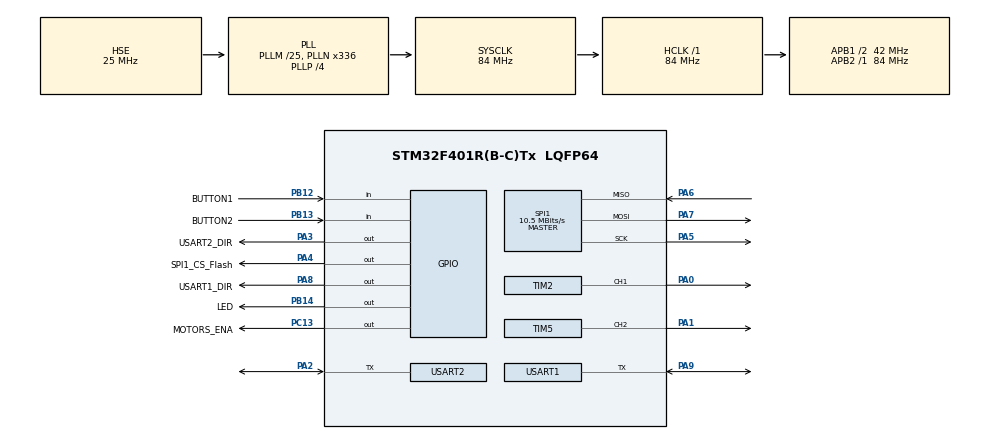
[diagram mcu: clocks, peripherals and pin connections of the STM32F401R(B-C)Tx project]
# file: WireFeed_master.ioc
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Dma.Request0=USART2_RX
Dma.Request1=USART2_TX
Dma.Request2=SPI1_RX
Dma.Request3=SPI1_TX
Dma.Request4=USART1_RX
Dma.Request5=USART1_TX
Dma.SPI1_RX.2.Direction=DMA_PERIPH_TO_MEMORY
Dma.SPI1_RX.2.FIFOMode=DMA_FIFOMODE_DISABLE
Dma.SPI1_RX.2.Instance=DMA2_Stream0
Dma.SPI1_RX.2.MemDataAlignment=DMA_MDATAALIGN_BYTE
Dma.SPI1_RX.2.MemInc=DMA_MINC_ENABLE
Dma.SPI1_RX.2.Mode=DMA_NORMAL
Dma.SPI1_RX.2.PeriphDataAlignment=DMA_PDATAALIGN_BYTE
Dma.SPI1_RX.2.PeriphInc=DMA_PINC_DISABLE
Dma.SPI1_RX.2.Priority=DMA_PRIORITY_MEDIUM
Dma.SPI1_TX.3.Direction=DMA_MEMORY_TO_PERIPH
Dma.SPI1_TX.3.FIFOMode=DMA_FIFOMODE_DISABLE
Dma.SPI1_TX.3.Instance=DMA2_Stream3
Dma.SPI1_TX.3.MemDataAlignment=DMA_MDATAALIGN_BYTE
Dma.SPI1_TX.3.MemInc=DMA_MINC_ENABLE
Dma.SPI1_TX.3.Mode=DMA_NORMAL
Dma.SPI1_TX.3.PeriphDataAlignment=DMA_PDATAALIGN_BYTE
Dma.SPI1_TX.3.PeriphInc=DMA_PINC_DISABLE
Dma.SPI1_TX.3.Priority=DMA_PRIORITY_MEDIUM
Dma.USART1_RX.4.Direction=DMA_PERIPH_TO_MEMORY
Dma.USART1_RX.4.FIFOMode=DMA_FIFOMODE_DISABLE
Dma.USART1_RX.4.Instance=DMA2_Stream2
Dma.USART1_RX.4.MemDataAlignment=DMA_MDATAALIGN_BYTE
Dma.USART1_RX.4.MemInc=DMA_MINC_ENABLE
Dma.USART1_RX.4.Mode=DMA_NORMAL
Dma.USART1_RX.4.PeriphDataAlignment=DMA_PDATAALIGN_BYTE
Dma.USART1_RX.4.PeriphInc=DMA_PINC_DISABLE
Dma.USART1_RX.4.Priority=DMA_PRIORITY_LOW
Dma.USART1_TX.5.Direction=DMA_MEMORY_TO_PERIPH
Dma.USART1_TX.5.FIFOMode=DMA_FIFOMODE_DISABLE
Dma.USART1_TX.5.Instance=DMA2_Stream7
Dma.USART1_TX.5.MemDataAlignment=DMA_MDATAALIGN_BYTE
Dma.USART1_TX.5.MemInc=DMA_MINC_ENABLE
Dma.USART1_TX.5.Mode=DMA_NORMAL
Dma.USART1_TX.5.PeriphDataAlignment=DMA_PDATAALIGN_BYTE
Dma.USART1_TX.5.PeriphInc=DMA_PINC_DISABLE
Dma.USART1_TX.5.Priority=DMA_PRIORITY_LOW
Dma.USART2_RX.0.Direction=DMA_PERIPH_TO_MEMORY
Dma.USART2_RX.0.FIFOMode=DMA_FIFOMODE_DISABLE
Dma.USART2_RX.0.Instance=DMA1_Stream5
Dma.USART2_RX.0.MemDataAlignment=DMA_MDATAALIGN_BYTE
Dma.USART2_RX.0.MemInc=DMA_MINC_ENABLE
Dma.USART2_RX.0.Mode=DMA_NORMAL
Dma.USART2_RX.0.PeriphDataAlignment=DMA_PDATAALIGN_BYTE
Dma.USART2_RX.0.PeriphInc=DMA_PINC_DISABLE
Dma.USART2_RX.0.Priority=DMA_PRIORITY_LOW
Dma.USART2_TX.1.Direction=DMA_MEMORY_TO_PERIPH
Dma.USART2_TX.1.FIFOMode=DMA_FIFOMODE_DISABLE
Dma.USART2_TX.1.Instance=DMA1_Stream6
Dma.USART2_TX.1.MemDataAlignment=DMA_MDATAALIGN_BYTE
Dma.USART2_TX.1.MemInc=DMA_MINC_ENABLE
Dma.USART2_TX.1.Mode=DMA_NORMAL
Dma.USART2_TX.1.PeriphDataAlignment=DMA_PDATAALIGN_BYTE
Dma.USART2_TX.1.PeriphInc=DMA_PINC_DISABLE
Dma.USART2_TX.1.Priority=DMA_PRIORITY_LOW
FREERTOS.HEAP_NUMBER=1
FREERTOS.Tasks01=commTask,8,128,StartCommTask,As weak,NULL,Dynamic,NULL,NULL
FREERTOS.configENABLE_FPU=1
Mcu.Family=STM32F4
Mcu.Name=STM32F401R(B-C)Tx
Mcu.Package=LQFP64
NVIC.DMA1_Stream5_IRQn=true\:5\:0\:false\:false\:true\:true\:false\:true\:true
NVIC.DMA1_Stream6_IRQn=true\:5\:0\:false\:false\:true\:true\:false\:true\:true
NVIC.DMA2_Stream0_IRQn=true\:5\:0\:false\:false\:true\:true\:false\:true\:true
NVIC.DMA2_Stream2_IRQn=true\:5\:0\:false\:false\:true\:true\:false\:true\:true
NVIC.DMA2_Stream3_IRQn=true\:5\:0\:false\:false\:true\:true\:false\:true\:true
NVIC.DMA2_Stream7_IRQn=true\:5\:0\:false\:false\:true\:true\:false\:true\:true
NVIC.PriorityGroup=NVIC_PRIORITYGROUP_4
NVIC.SPI1_IRQn=true\:5\:0\:false\:false\:true\:true\:true\:true\:true
NVIC.TIM1_TRG_COM_TIM11_IRQn=true\:15\:0\:false\:false\:true\:false\:false\:true\:true
NVIC.TimeBase=TIM1_TRG_COM_TIM11_IRQn
NVIC.TimeBaseIP=TIM11
NVIC.USART1_IRQn=true\:5\:0\:false\:false\:true\:true\:true\:true\:true
NVIC.USART2_IRQn=true\:5\:0\:false\:false\:true\:true\:true\:true\:true
NimaLTD.I-CUBE-SPIF.2.3.2.SPIF_PLATFORM=SPIF_PLATFORM_HAL_DMA
NimaLTD.I-CUBE-SPIF.2.3.2.SPIF_RTOS=SPIF_RTOS_CMSIS_V2
PA0-WKUP.GPIO_ModeDefaultPP=GPIO_MODE_AF_OD
PA0-WKUP.GPIO_Speed=GPIO_SPEED_FREQ_VERY_HIGH
PA0-WKUP.Signal=S_TIM2_CH1_ETR
PA1.GPIO_ModeDefaultPP=GPIO_MODE_AF_OD
PA1.GPIO_Speed=GPIO_SPEED_FREQ_VERY_HIGH
PA1.Signal=S_TIM5_CH2
PA2.GPIO_PuPd=GPIO_PULLUP
PA2.Mode=Half_duplex(single_wire_mode)
PA2.Signal=USART2_TX
PA3.GPIO_Label=USART2_DIR
PA3.GPIO_Speed=GPIO_SPEED_FREQ_VERY_HIGH
PA3.Signal=GPIO_Output
PA4.GPIO_Label=SPI1_CS_Flash
PA4.GPIO_Speed=GPIO_SPEED_FREQ_LOW
PA4.Signal=GPIO_Output
PA5.Mode=Full_Duplex_Master
PA5.Signal=SPI1_SCK
PA6.Mode=Full_Duplex_Master
PA6.Signal=SPI1_MISO
PA7.Mode=Full_Duplex_Master
PA7.Signal=SPI1_MOSI
PA8.GPIO_Label=USART1_DIR
PA8.Signal=GPIO_Output
PA9.GPIO_PuPd=GPIO_PULLUP
PA9.Mode=Half_duplex(single_wire_mode)
PA9.Signal=USART1_TX
PB12.GPIO_Label=BUTTON1
PB12.GPIO_PuPd=GPIO_PULLUP
PB12.Signal=GPIO_Input
PB13.GPIO_Label=BUTTON2
PB13.GPIO_PuPd=GPIO_PULLUP
PB13.Signal=GPIO_Input
PB14.GPIO_Label=LED
PB14.Signal=GPIO_Output
PC13-ANTI_TAMP.GPIO_Label=MOTORS_ENA
PC13-ANTI_TAMP.GPIO_ModeDefaultOutputPP=GPIO_MODE_OUTPUT_OD
PC13-ANTI_TAMP.GPIO_PuPd=GPIO_NOPULL
PC13-ANTI_TAMP.PinState=GPIO_PIN_RESET
PC13-ANTI_TAMP.Signal=GPIO_Output
PC14-OSC32_IN.Mode=LSE-External-Oscillator
PC14-OSC32_IN.Signal=RCC_OSC32_IN
PC15-OSC32_OUT.Mode=LSE-External-Oscillator
PC15-OSC32_OUT.Signal=RCC_OSC32_OUT
PH0\ -\ OSC_IN.Mode=HSE-External-Oscillator
PH0\ -\ OSC_IN.Signal=RCC_OSC_IN
PH1\ -\ OSC_OUT.Mode=HSE-External-Oscillator
PH1\ -\ OSC_OUT.Signal=RCC_OSC_OUT
ProjectManager.HeapSize=0x200
ProjectManager.StackSize=0x400
ProjectManager.TargetToolchain=CMake
RCC.48MHZClocksFreq_Value=48000000
RCC.AHBFreq_Value=84000000
RCC.APB1CLKDivider=RCC_HCLK_DIV2
RCC.APB1Freq_Value=42000000
RCC.APB1TimFreq_Value=84000000
RCC.APB2Freq_Value=84000000
RCC.APB2TimFreq_Value=84000000
RCC.CortexFreq_Value=84000000
RCC.HCLKFreq_Value=84000000
RCC.HSE_VALUE=25000000
RCC.HSI_VALUE=16000000
RCC.PLLM=25
RCC.PLLN=336
RCC.PLLP=RCC_PLLP_DIV4
RCC.PLLQ=7
RCC.PLLSourceVirtual=RCC_PLLSOURCE_HSE
RCC.RCC_RTC_Clock_Source=RCC_RTCCLKSOURCE_LSE
RCC.RCC_RTC_Clock_SourceVirtual=RCC_RTCCLKSOURCE_LSE
RCC.RCC_RTC_Clock_Source_FROM_HSE=RCC_RTCCLKSOURCE_HSE_DIV25
RCC.SYSCLKFreq_VALUE=84000000
RCC.SYSCLKSource=RCC_SYSCLKSOURCE_PLLCLK
RCC.VCOOutputFreq_Value=336000000
SH.S_TIM2_CH1_ETR.0=TIM2_CH1,Output Compare1 CH1
SH.S_TIM5_CH2.0=TIM5_CH2,Output Compare2 CH2
SPI1.BaudRatePrescaler=SPI_BAUDRATEPRESCALER_8
SPI1.CalculateBaudRate=10.5 MBits/s
SPI1.DataSize=SPI_DATASIZE_8BIT
SPI1.Direction=SPI_DIRECTION_2LINES
SPI1.Mode=SPI_MODE_MASTER
SPI1.VirtualType=VM_MASTER
TIM2.AutoReloadPreload=TIM_AUTORELOAD_PRELOAD_ENABLE
TIM2.Channel-Output\ Compare1\ CH1=TIM_CHANNEL_1
TIM2.OCMode_1=TIM_OCMODE_TOGGLE
TIM2.Period=65535
TIM5.AutoReloadPreload=TIM_AUTORELOAD_PRELOAD_ENABLE
TIM5.Channel-Output\ Compare2\ CH2=TIM_CHANNEL_2
TIM5.OCMode_2=TIM_OCMODE_TOGGLE
TIM5.Period=65535
USART1.Parity=PARITY_NONE
USART1.VirtualMode=VM_ASYNC
USART1.WordLength=WORDLENGTH_8B
USART2.VirtualMode=VM_ASYNC
VP_FREERTOS_VS_CMSIS_V2.Mode=CMSIS_V2
VP_RTC_VS_RTC_Activate.Mode=RTC_Enabled
VP_SYS_VS_tim11.Mode=TIM11
VP_TIM2_VS_ClockSourceINT.Mode=Internal
VP_TIM5_VS_ClockSourceINT.Mode=Internal
board=custom

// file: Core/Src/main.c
/* USER CODE BEGIN Header */
/**
  ******************************************************************************
  * @file           : main.c
  * @brief          : Main program body
  ******************************************************************************
  * @attention
  *
  * Copyright (c) 2026 STMicroelectronics.
  * All rights reserved.
  *
  * This software is licensed under terms that can be found in the LICENSE file
  * in the root directory of this software component.
  * If no LICENSE file comes with this software, it is provided AS-IS.
  *
  ******************************************************************************
  */
/* USER CODE END Header */
#include "main.h"
#include "cmsis_os.h"

/* USER CODE BEGIN Includes */
#include "acceleration.h"
#include "communication.h"
/* USER CODE END Includes */

RTC_HandleTypeDef hrtc;

SPI_HandleTypeDef hspi1;
DMA_HandleTypeDef hdma_spi1_rx;
DMA_HandleTypeDef hdma_spi1_tx;

TIM_HandleTypeDef htim2;
TIM_HandleTypeDef htim5;

UART_HandleTypeDef huart1;
UART_HandleTypeDef huart2;
DMA_HandleTypeDef hdma_usart1_rx;
DMA_HandleTypeDef hdma_usart1_tx;
DMA_HandleTypeDef hdma_usart2_rx;
DMA_HandleTypeDef hdma_usart2_tx;

/* Definitions for commTask */
osThreadId_t commTaskHandle;
const osThreadAttr_t commTask_attributes = {
  .name = "commTask",
  .stack_size = 128 * 4,
  .priority = (osPriority_t) osPriorityLow,
};
/* USER CODE BEGIN PV */
AT25DMA_HandleTypeDef heeprom = {
  .hspi = &hspi1,
  .cs_port = SPI1_CS_Flash_GPIO_Port,
  .cs_pin = SPI1_CS_Flash_Pin,
};
/* USER CODE END PV */

void SystemClock_Config(void);
static void MX_GPIO_Init(void);
static void MX_DMA_Init(void);
static void MX_USART2_UART_Init(void);
static void MX_TIM2_Init(void);
static void MX_TIM5_Init(void);
static void MX_SPI1_Init(void);
static void MX_RTC_Init(void);
static void MX_USART1_UART_Init(void);
void StartCommTask(void *argument);

int main(void)
{

  /* MCU Configuration--------------------------------------------------------*/

  /* Reset of all peripherals, Initializes the Flash interface and the Systick. */
  HAL_Init();

  /* Configure the system clock */
  SystemClock_Config();

  /* Initialize all configured peripherals */
  MX_GPIO_Init();
  MX_DMA_Init();
  MX_USART2_UART_Init();
  MX_TIM2_Init();
  MX_TIM5_Init();
  MX_SPI1_Init();
  MX_RTC_Init();
  MX_USART1_UART_Init();
  /* USER CODE BEGIN 2 */
  AT25DMA_Init(&heeprom);
  /* USER CODE END 2 */

  /* Init scheduler */
  osKernelInitialize();

  /* Create the thread(s) */
  /* creation of commTask */
  commTaskHandle = osThreadNew(StartCommTask, NULL, &commTask_attributes);

  /* USER CODE BEGIN RTOS_THREADS */
  /* add threads, ... */
  commInit();
  /* USER CODE END RTOS_THREADS */

  /* Start scheduler */
  osKernelStart();

  /* We should never get here as control is now taken by the scheduler */

  /* Infinite loop */
  while (1)
  {

  }
}

void SystemClock_Config(void)
{
  RCC_OscInitTypeDef RCC_OscInitStruct = {0};
  RCC_ClkInitTypeDef RCC_ClkInitStruct = {0};

  /** Configure the main internal regulator output voltage
  */
  __HAL_RCC_PWR_CLK_ENABLE();
  __HAL_PWR_VOLTAGESCALING_CONFIG(PWR_REGULATOR_VOLTAGE_SCALE2);

  /** Initializes the RCC Oscillators according to the specified parameters
  * in the RCC_OscInitTypeDef structure.
  */
  RCC_OscInitStruct.OscillatorType = RCC_OSCILLATORTYPE_HSE|RCC_OSCILLATORTYPE_LSE;
  RCC_OscInitStruct.HSEState = RCC_HSE_ON;
  RCC_OscInitStruct.LSEState = RCC_LSE_ON;
  RCC_OscInitStruct.PLL.PLLState = RCC_PLL_ON;
  RCC_OscInitStruct.PLL.PLLSource = RCC_PLLSOURCE_HSE;
  RCC_OscInitStruct.PLL.PLLM = 25;
  RCC_OscInitStruct.PLL.PLLN = 336;
  RCC_OscInitStruct.PLL.PLLP = RCC_PLLP_DIV4;
  RCC_OscInitStruct.PLL.PLLQ = 7;
  if (HAL_RCC_OscConfig(&RCC_OscInitStruct) != HAL_OK)
  {
    Error_Handler();
  }

  /** Initializes the CPU, AHB and APB buses clocks
  */
  RCC_ClkInitStruct.ClockType = RCC_CLOCKTYPE_HCLK|RCC_CLOCKTYPE_SYSCLK
                              |RCC_CLOCKTYPE_PCLK1|RCC_CLOCKTYPE_PCLK2;
  RCC_ClkInitStruct.SYSCLKSource = RCC_SYSCLKSOURCE_PLLCLK;
  RCC_ClkInitStruct.AHBCLKDivider = RCC_SYSCLK_DIV1;
  RCC_ClkInitStruct.APB1CLKDivider = RCC_HCLK_DIV2;
  RCC_ClkInitStruct.APB2CLKDivider = RCC_HCLK_DIV1;

  if (HAL_RCC_ClockConfig(&RCC_ClkInitStruct, FLASH_LATENCY_2) != HAL_OK)
  {
    Error_Handler();
  }
}

static void MX_RTC_Init(void)
{

  /** Initialize RTC Only
  */
  hrtc.Instance = RTC;
  hrtc.Init.HourFormat = RTC_HOURFORMAT_24;
  hrtc.Init.AsynchPrediv = 127;
  hrtc.Init.SynchPrediv = 255;
  hrtc.Init.OutPut = RTC_OUTPUT_DISABLE;
  hrtc.Init.OutPutPolarity = RTC_OUTPUT_POLARITY_HIGH;
  hrtc.Init.OutPutType = RTC_OUTPUT_TYPE_OPENDRAIN;
  if (HAL_RTC_Init(&hrtc) != HAL_OK)
  {
    Error_Handler();
  }

}

static void MX_SPI1_Init(void)
{

  /* SPI1 parameter configuration*/
  hspi1.Instance = SPI1;
  hspi1.Init.Mode = SPI_MODE_MASTER;
  hspi1.Init.Direction = SPI_DIRECTION_2LINES;
  hspi1.Init.DataSize = SPI_DATASIZE_8BIT;
  hspi1.Init.CLKPolarity = SPI_POLARITY_LOW;
  hspi1.Init.CLKPhase = SPI_PHASE_1EDGE;
  hspi1.Init.NSS = SPI_NSS_SOFT;
  hspi1.Init.BaudRatePrescaler = SPI_BAUDRATEPRESCALER_8;
  hspi1.Init.FirstBit = SPI_FIRSTBIT_MSB;
  hspi1.Init.TIMode = SPI_TIMODE_DISABLE;
  hspi1.Init.CRCCalculation = SPI_CRCCALCULATION_DISABLE;
  hspi1.Init.CRCPolynomial = 10;
  if (HAL_SPI_Init(&hspi1) != HAL_OK)
  {
    Error_Handler();
  }

}

static void MX_TIM2_Init(void)
{

  TIM_ClockConfigTypeDef sClockSourceConfig = {0};
  TIM_MasterConfigTypeDef sMasterConfig = {0};
  TIM_OC_InitTypeDef sConfigOC = {0};

  htim2.Instance = TIM2;
  htim2.Init.Prescaler = 0;
  htim2.Init.CounterMode = TIM_COUNTERMODE_UP;
  htim2.Init.Period = 65535;
  htim2.Init.ClockDivision = TIM_CLOCKDIVISION_DIV1;
  htim2.Init.AutoReloadPreload = TIM_AUTORELOAD_PRELOAD_ENABLE;
  if (HAL_TIM_Base_Init(&htim2) != HAL_OK)
  {
    Error_Handler();
  }
  sClockSourceConfig.ClockSource = TIM_CLOCKSOURCE_INTERNAL;
  if (HAL_TIM_ConfigClockSource(&htim2, &sClockSourceConfig) != HAL_OK)
  {
    Error_Handler();
  }
  if (HAL_TIM_OC_Init(&htim2) != HAL_OK)
  {
    Error_Handler();
  }
  sMasterConfig.MasterOutputTrigger = TIM_TRGO_RESET;
  sMasterConfig.MasterSlaveMode = TIM_MASTERSLAVEMODE_DISABLE;
  if (HAL_TIMEx_MasterConfigSynchronization(&htim2, &sMasterConfig) != HAL_OK)
  {
    Error_Handler();
  }
  sConfigOC.OCMode = TIM_OCMODE_TOGGLE;
  sConfigOC.Pulse = 0;
  sConfigOC.OCPolarity = TIM_OCPOLARITY_HIGH;
  sConfigOC.OCFastMode = TIM_OCFAST_DISABLE;
  if (HAL_TIM_OC_ConfigChannel(&htim2, &sConfigOC, TIM_CHANNEL_1) != HAL_OK)
  {
    Error_Handler();
  }
  HAL_TIM_MspPostInit(&htim2);

}

static void MX_TIM5_Init(void)
{

  TIM_ClockConfigTypeDef sClockSourceConfig = {0};
  TIM_MasterConfigTypeDef sMasterConfig = {0};
  TIM_OC_InitTypeDef sConfigOC = {0};

  htim5.Instance = TIM5;
  htim5.Init.Prescaler = 0;
  htim5.Init.CounterMode = TIM_COUNTERMODE_UP;
  htim5.Init.Period = 65535;
  htim5.Init.ClockDivision = TIM_CLOCKDIVISION_DIV1;
  htim5.Init.AutoReloadPreload = TIM_AUTORELOAD_PRELOAD_ENABLE;
  if (HAL_TIM_Base_Init(&htim5) != HAL_OK)
  {
    Error_Handler();
  }
  sClockSourceConfig.ClockSource = TIM_CLOCKSOURCE_INTERNAL;
  if (HAL_TIM_ConfigClockSource(&htim5, &sClockSourceConfig) != HAL_OK)
  {
    Error_Handler();
  }
  if (HAL_TIM_OC_Init(&htim5) != HAL_OK)
  {
    Error_Handler();
  }
  sMasterConfig.MasterOutputTrigger = TIM_TRGO_RESET;
  sMasterConfig.MasterSlaveMode = TIM_MASTERSLAVEMODE_DISABLE;
  if (HAL_TIMEx_MasterConfigSynchronization(&htim5, &sMasterConfig) != HAL_OK)
  {
    Error_Handler();
  }
  sConfigOC.OCMode = TIM_OCMODE_TOGGLE;
  sConfigOC.Pulse = 0;
  sConfigOC.OCPolarity = TIM_OCPOLARITY_HIGH;
  sConfigOC.OCFastMode = TIM_OCFAST_DISABLE;
  if (HAL_TIM_OC_ConfigChannel(&htim5, &sConfigOC, TIM_CHANNEL_2) != HAL_OK)
  {
    Error_Handler();
  }
  HAL_TIM_MspPostInit(&htim5);

}

static void MX_USART1_UART_Init(void)
{

  huart1.Instance = USART1;
  huart1.Init.BaudRate = 115200;
  huart1.Init.WordLength = UART_WORDLENGTH_8B;
  huart1.Init.StopBits = UART_STOPBITS_1;
  huart1.Init.Parity = UART_PARITY_NONE;
  huart1.Init.Mode = UART_MODE_TX_RX;
  huart1.Init.HwFlowCtl = UART_HWCONTROL_NONE;
  huart1.Init.OverSampling = UART_OVERSAMPLING_16;
  if (HAL_HalfDuplex_Init(&huart1) != HAL_OK)
  {
    Error_Handler();
  }

}

static void MX_USART2_UART_Init(void)
{

  huart2.Instance = USART2;
  huart2.Init.BaudRate = 115200;
  huart2.Init.WordLength = UART_WORDLENGTH_8B;
  huart2.Init.StopBits = UART_STOPBITS_1;
  huart2.Init.Parity = UART_PARITY_NONE;
  huart2.Init.Mode = UART_MODE_TX_RX;
  huart2.Init.HwFlowCtl = UART_HWCONTROL_NONE;
  huart2.Init.OverSampling = UART_OVERSAMPLING_16;
  if (HAL_HalfDuplex_Init(&huart2) != HAL_OK)
  {
    Error_Handler();
  }

}

static void MX_DMA_Init(void)
{

  /* DMA controller clock enable */
  __HAL_RCC_DMA1_CLK_ENABLE();
  __HAL_RCC_DMA2_CLK_ENABLE();

  /* DMA interrupt init */
  /* DMA1_Stream5_IRQn interrupt configuration */
  HAL_NVIC_SetPriority(DMA1_Stream5_IRQn, 5, 0);
  HAL_NVIC_EnableIRQ(DMA1_Stream5_IRQn);
  /* DMA1_Stream6_IRQn interrupt configuration */
  HAL_NVIC_SetPriority(DMA1_Stream6_IRQn, 5, 0);
  HAL_NVIC_EnableIRQ(DMA1_Stream6_IRQn);
  /* DMA2_Stream0_IRQn interrupt configuration */
  HAL_NVIC_SetPriority(DMA2_Stream0_IRQn, 5, 0);
  HAL_NVIC_EnableIRQ(DMA2_Stream0_IRQn);
  /* DMA2_Stream2_IRQn interrupt configuration */
  HAL_NVIC_SetPriority(DMA2_Stream2_IRQn, 5, 0);
  HAL_NVIC_EnableIRQ(DMA2_Stream2_IRQn);
  /* DMA2_Stream3_IRQn interrupt configuration */
  HAL_NVIC_SetPriority(DMA2_Stream3_IRQn, 5, 0);
  HAL_NVIC_EnableIRQ(DMA2_Stream3_IRQn);
  /* DMA2_Stream7_IRQn interrupt configuration */
  HAL_NVIC_SetPriority(DMA2_Stream7_IRQn, 5, 0);
  HAL_NVIC_EnableIRQ(DMA2_Stream7_IRQn);

}

static void MX_GPIO_Init(void)
{
  GPIO_InitTypeDef GPIO_InitStruct = {0};

  /* GPIO Ports Clock Enable */
  __HAL_RCC_GPIOC_CLK_ENABLE();
  __HAL_RCC_GPIOH_CLK_ENABLE();
  __HAL_RCC_GPIOA_CLK_ENABLE();
  __HAL_RCC_GPIOB_CLK_ENABLE();

  /*Configure GPIO pin Output Level */
  HAL_GPIO_WritePin(MOTORS_ENA_GPIO_Port, MOTORS_ENA_Pin, GPIO_PIN_RESET);

  /*Configure GPIO pin Output Level */
  HAL_GPIO_WritePin(GPIOA, USART2_DIR_Pin|SPI1_CS_Flash_Pin|USART1_DIR_Pin, GPIO_PIN_RESET);

  /*Configure GPIO pin Output Level */
  HAL_GPIO_WritePin(LED_GPIO_Port, LED_Pin, GPIO_PIN_RESET);

  /*Configure GPIO pin : MOTORS_ENA_Pin */
  GPIO_InitStruct.Pin = MOTORS_ENA_Pin;
  GPIO_InitStruct.Mode = GPIO_MODE_OUTPUT_OD;
  GPIO_InitStruct.Pull = GPIO_NOPULL;
  GPIO_InitStruct.Speed = GPIO_SPEED_FREQ_LOW;
  HAL_GPIO_Init(MOTORS_ENA_GPIO_Port, &GPIO_InitStruct);

  /*Configure GPIO pin : USART2_DIR_Pin */
  GPIO_InitStruct.Pin = USART2_DIR_Pin;
  GPIO_InitStruct.Mode = GPIO_MODE_OUTPUT_PP;
  GPIO_InitStruct.Pull = GPIO_NOPULL;
  GPIO_InitStruct.Speed = GPIO_SPEED_FREQ_VERY_HIGH;
  HAL_GPIO_Init(USART2_DIR_GPIO_Port, &GPIO_InitStruct);

  /*Configure GPIO pins : SPI1_CS_Flash_Pin USART1_DIR_Pin */
  GPIO_InitStruct.Pin = SPI1_CS_Flash_Pin|USART1_DIR_Pin;
  GPIO_InitStruct.Mode = GPIO_MODE_OUTPUT_PP;
  GPIO_InitStruct.Pull = GPIO_NOPULL;
  GPIO_InitStruct.Speed = GPIO_SPEED_FREQ_LOW;
  HAL_GPIO_Init(GPIOA, &GPIO_InitStruct);

  /*Configure GPIO pins : BUTTON1_Pin BUTTON2_Pin */
  GPIO_InitStruct.Pin = BUTTON1_Pin|BUTTON2_Pin;
  GPIO_InitStruct.Mode = GPIO_MODE_INPUT;
  GPIO_InitStruct.Pull = GPIO_PULLUP;
  HAL_GPIO_Init(GPIOB, &GPIO_InitStruct);

  /*Configure GPIO pin : LED_Pin */
  GPIO_InitStruct.Pin = LED_Pin;
  GPIO_InitStruct.Mode = GPIO_MODE_OUTPUT_PP;
  GPIO_InitStruct.Pull = GPIO_NOPULL;
  GPIO_InitStruct.Speed = GPIO_SPEED_FREQ_LOW;
  HAL_GPIO_Init(LED_GPIO_Port, &GPIO_InitStruct);

}

/* USER CODE BEGIN 4 */
void HAL_SPI_TxCpltCallback(SPI_HandleTypeDef *hspi) {
  AT25DMA_SPI_TxCpltCallback(&heeprom);
}

void HAL_SPI_RxCpltCallback(SPI_HandleTypeDef *hspi) {
  AT25DMA_SPI_RxCpltCallback(&heeprom);
}

void HAL_SPI_TxRxCpltCallback(SPI_HandleTypeDef *hspi) {
  AT25DMA_SPI_TxRxCpltCallback(&heeprom);
}
/* USER CODE END 4 */

__weak void StartCommTask(void *argument)
{
  for(;;)
  {
    osDelay(1);
  }
}

void HAL_TIM_PeriodElapsedCallback(TIM_HandleTypeDef *htim)
{
  /* USER CODE BEGIN Callback 0 */
  processAcceleration();
  /* USER CODE END Callback 0 */
  if (htim->Instance == TIM11)
  {
    HAL_IncTick();
  }
}

void Error_Handler(void)
{
  __disable_irq();
  while (1)
  {
  }
}
